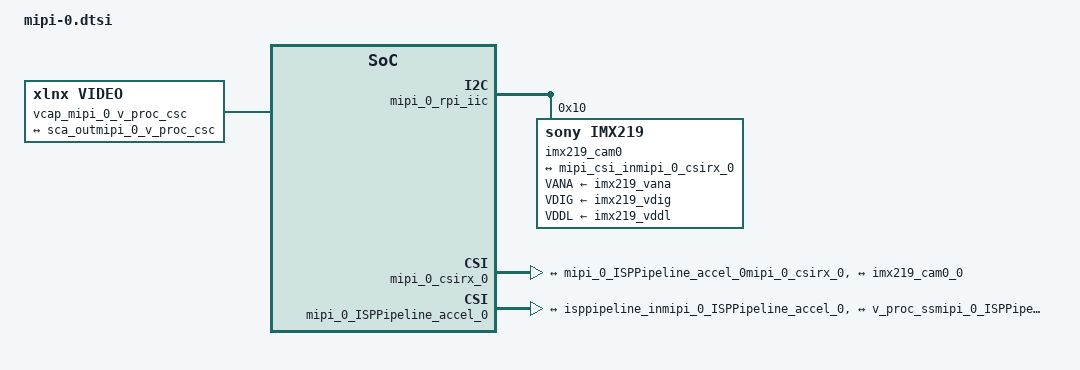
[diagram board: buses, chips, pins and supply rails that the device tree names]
&amba_pl {
	mipi_0_rpi_gpio: gpio@a4060000 {
		#gpio-cells = <2>;
		clock-names = "s_axi_aclk";
		clocks = <&versal_clk 65>;
		compatible = "xlnx,axi-gpio-2.0", "xlnx,xps-gpio-1.00.a";
		gpio-controller ;
		reg = <0x0 0xa4060000 0x0 0x10000>;
		xlnx,all-inputs = <0x0>;
		xlnx,all-inputs-2 = <0x0>;
		xlnx,all-outputs = <0x1>;
		xlnx,all-outputs-2 = <0x0>;
		xlnx,dout-default = <0x00000000>;
		xlnx,dout-default-2 = <0x00000000>;
		xlnx,gpio-width = <0x2>;
		xlnx,gpio2-width = <0x20>;
		xlnx,interrupt-present = <0x0>;
		xlnx,is-dual = <0x0>;
		xlnx,tri-default = <0xFFFFFFFF>;
		xlnx,tri-default-2 = <0xFFFFFFFF>;
	};
	
	mipi_0_rpi_iic: i2c@a40a0000 {
		#address-cells = <1>;
		#size-cells = <0>;
		clock-names = "s_axi_aclk";
		clocks = <&versal_clk 65>;
		compatible = "xlnx,axi-iic-2.1", "xlnx,xps-iic-2.00.a";
		interrupt-names = "iic2intc_irpt";
		interrupt-parent = <&cips_ss_0_axi_intc_parent>;
		interrupts = <2 2>;
		reg = <0x0 0xa40a0000 0x0 0x10000>;

		imx219_cam0: sensor@10 {
			compatible = "sony,imx219";
			reg = <0x10>;
			clocks = <&imx219_clk>;
			VANA-supply = <&imx219_vana>;   /* 2.8v */
			VDIG-supply = <&imx219_vdig>;   /* 1.8v */
			VDDL-supply = <&imx219_vddl>;   /* 1.2v */

			port {
			     imx219_cam0_0: endpoint {
				remote-endpoint = <&mipi_csi_inmipi_0_csirx_0>;
				data-lanes = <1 2>;
				link-frequencies = /bits/ 64 <456000000>;
				};
			};
		};
	};

	mipi_0_csirx_0: mipi_csi2_rx_subsystem@b0000000 {
		clock-names = "dphy_clk_200M", "lite_aclk", "video_aclk";
		clocks = <&misc_clk_5>, <&versal_clk 65>, <&misc_clk_0>;
		//compatible = "xlnx,mipi-csi2-rx-subsystem-5.4", "xlnx,mipi-csi2-rx-subsystem-5.0";
		compatible = "xlnx,mipi-csi2-rx-subsystem-5.2", "xlnx,mipi-csi2-rx-subsystem-5.0";
		interrupt-names = "csirxss_csi_irq";
		interrupt-parent = <&cips_ss_0_axi_intc_parent>;
		interrupts = <0 2>;
		reg = <0x0 0xb0000000 0x0 0x2000>;
		xlnx,axis-tdata-width = <32>;
		xlnx,csi-pxl-format = <0x2b>;
		xlnx,dphy-present ;
		xlnx,en-active-lanes ;
		xlnx,en-csi-v2-0 ;
		xlnx,max-lanes = <2>;
		xlnx,ppc = <1>;
		xlnx,vc = <4>;
		xlnx,vfb ;
		mipi_csi_portsmipi_0_csirx_0: ports {
			#address-cells = <1>;
			#size-cells = <0>;
			mipi_csi_port1mipi_0_csirx_0: port@1 {
				reg = <1>;
				xlnx,cfa-pattern = "rggb";
				xlnx,video-format = <12>;
				xlnx,video-width = <8>;				
				isppipeline_inmipi_0_ISPPipeline_accel_0: endpoint {
					remote-endpoint = <&mipi_0_ISPPipeline_accel_0mipi_0_csirx_0>;
				};
			};
			mipi_csi_port0mipi_0_csirx_0: port@0 {
				/* User need to add something like remote-endpoint=<&out> under the node csiss_in:endpoint */
				reg = <0>;
				xlnx,cfa-pattern = "rggb";
				xlnx,video-format = <12>;
				xlnx,video-width = <8>;				
				mipi_csi_inmipi_0_csirx_0: endpoint {
					data-lanes = <1 2>;
					remote-endpoint = <&imx219_cam0_0>;					
				};
			};
		};
	};
	
	mipi_0_ISPPipeline_accel_0: ISPPipeline_accel@a4010000 {
		clock-names = "ap_clk";
		clocks = <&misc_clk_0>;
		compatible = "xlnx,ISPPipeline-accel-1.0", "xlnx,isppipeline-1.0";
		reg = <0x0 0xa4010000 0x0 0x10000>;
		//reset-gpios = <&cips_ss_0_axi_gpio_1 0 0 1>;
		reset-gpios = <&cips_ss_0_axi_gpio_1 0 1>;
		//xlnx,max-height = /bits/ 16 <2160>;
		//xlnx,max-width = /bits/ 16 <3840>;
		xlnx,max-width = /bits/ 16 <1920>;	
		xlnx,max-height = /bits/ 16 <1232>;
		xlnx,mode-reg ;
		xlnx,pawb = /bits/ 16 <350>;
		xlnx,rgain = /bits/ 16 <128>;
		xlnx,bgain = /bits/ 16 <210>;
		isppipeline_portsmipi_0_ISPPipeline_accel_0: ports {
			#address-cells = <1>;
			#size-cells = <0>;
			isppipeline_port0mipi_0_ISPPipeline_accel_0: port@0 {
				reg = <0>;
				mipi_0_ISPPipeline_accel_0mipi_0_csirx_0: endpoint {
					remote-endpoint = <&isppipeline_inmipi_0_ISPPipeline_accel_0>;
				};
			};
			isppipeline_port1mipi_0_ISPPipeline_accel_0: port@1 {
				reg = <1>;
				mipi_0_ISPPipeline_accel_0mipi_0_v_proc_csc: endpoint {
					remote-endpoint = <&v_proc_ssmipi_0_ISPPipeline_accel_0>;
				};
			};
		};
	};

	mipi_0_v_proc_csc: v_proc_ss@a4180000 {
		clock-names = "aclk_axis", "aclk_ctrl";
		clocks = <&misc_clk_0>, <&versal_clk 65>;
		//compatible = "xlnx,v-proc-ss-2.3", "xlnx,vpss-scaler-2.2", "xlnx,v-vpss-scaler-2.2", "xlnx,vpss-scaler";
		compatible = "xlnx,v-vpss-scaler-2.2";
		reg = <0x0 0xa4180000 0x0 0x40000>;
		reset-gpios = <&cips_ss_0_axi_gpio_1 2 1>;
		xlnx,colorspace-support = <0>;
		xlnx,csc-enable-window = "true";
		xlnx,enable-csc = "true";
		xlnx,h-scaler-phases = <64>;
		xlnx,h-scaler-taps = <6>;
		xlnx,max-height = <2160>;
		xlnx,max-num-phases = <64>;
		xlnx,max-width = <3840>;
		xlnx,num-hori-taps = <6>;
		xlnx,num-vert-taps = <6>;
		xlnx,pix-per-clk = <1>;
		xlnx,samples-per-clk = <1>;
		xlnx,scaler-algorithm = <2>;
		xlnx,topology = <0>;
		xlnx,use-uram = <0>;
		xlnx,v-scaler-phases = <64>;
		xlnx,v-scaler-taps = <6>;
		xlnx,video-width = <8>;
		scaler_portsmipi_0_v_proc_csc: ports {
			#address-cells = <1>;
			#size-cells = <0>;
			scaler_port1mipi_0_v_proc_csc: port@1 {
				/* For xlnx,video-format user needs to fill as per their requirement */
				reg = <1>;
				xlnx,video-format = <3>;
				xlnx,video-width = <8>;
				sca_outmipi_0_v_proc_csc: endpoint {
					remote-endpoint = <&mipi_0_vfbw_scaledmipi_0_v_proc_csc>;
				};
			};
			scaler_port0mipi_0_v_proc_csc: port@0 {
				/* For xlnx,video-format user needs to fill as per their requirement */
				reg = <0>;
				xlnx,video-format = <3>;
				xlnx,video-width = <8>;
				v_proc_ssmipi_0_ISPPipeline_accel_0: endpoint {
					remote-endpoint = <&mipi_0_ISPPipeline_accel_0mipi_0_v_proc_csc>;
				};
			};
		};
	};
	mipi_0_vfbw_scaled: v_frmbuf_wr@a40b0000 {
		#dma-cells = <1>;
		clock-names = "ap_clk";
		clocks = <&misc_clk_0>;
		//compatible = "xlnx,v-frmbuf-wr-2.5", "xlnx,axi-frmbuf-wr-v2.2";
		compatible = "xlnx,v-frmbuf-wr-2.4", "xlnx,axi-frmbuf-wr-v2.2";
		interrupt-names = "interrupt";
		interrupt-parent = <&cips_ss_0_axi_intc_parent>;
		interrupts = <1 2>;
		reg = <0x0 0xa40b0000 0x0 0x10000>;
		reset-gpios = <&cips_ss_0_axi_gpio_1 3 1>;
		xlnx,dma-addr-width = <64>;
		xlnx,dma-align = <8>;
		xlnx,max-height = <2160>;
		xlnx,max-width = <3840>;
		xlnx,pixels-per-clock = <1>;
		xlnx,s-axi-ctrl-addr-width = <0x7>;
		xlnx,s-axi-ctrl-data-width = <0x20>;
		xlnx,vid-formats = "rgb888", "bgr888", "xbgr8888", "xrgb8888", "uyvy", "y8", "vuy888", "xvuy8888", "yuyv", "nv16";
		xlnx,video-width = <8>;
	};


	vcap_mipi_0_v_proc_csc {
		compatible = "xlnx,video";
		dma-names = "port0";
		dmas = <&mipi_0_vfbw_scaled 0>;
		vcap_portsmipi_0_v_proc_csc: ports {
			#address-cells = <1>;
			#size-cells = <0>;
			vcap_portmipi_0_v_proc_csc: port@0 {
				direction = "input";
				reg = <0>;
				mipi_0_vfbw_scaledmipi_0_v_proc_csc: endpoint {
					remote-endpoint = <&sca_outmipi_0_v_proc_csc>;
				};
			};
		};
	};
};
